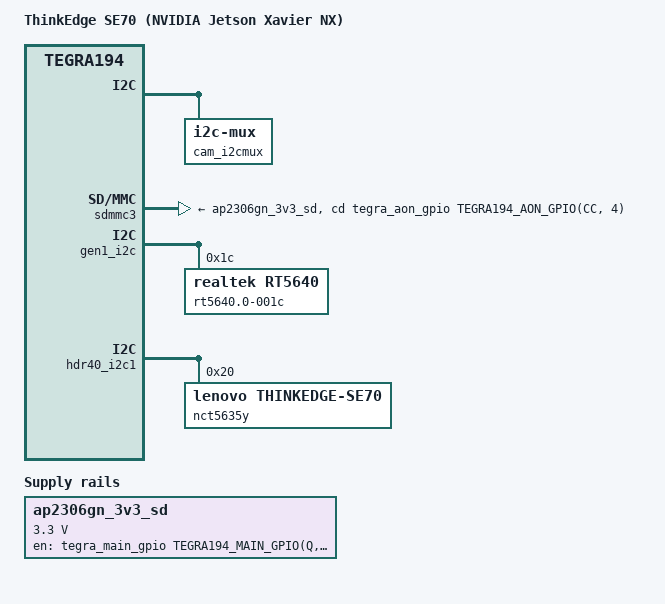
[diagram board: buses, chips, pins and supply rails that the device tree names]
/*
 * Top level DTS file for CVM:P3668-0001 and CVB:P3509-0000.
 *
 * Copyright (c) 2021, NVIDIA CORPORATION.  All rights reserved.
 * Copyright (C) 2023, Zededa GmbH. All rights reserved.
 *
 * This program is free software; you can redistribute it and/or modify
 * it under the terms of the GNU General Public License as published by
 * the Free Software Foundation; version 2 of the License.
 *
 * This program is distributed in the hope that it will be useful, but WITHOUT
 * ANY WARRANTY; without even the implied warranty of MERCHANTABILITY or
 * FITNESS FOR A PARTICULAR PURPOSE.  See the GNU General Public License for
 * more details.
 *
 * Changelog:
 *  Aug/2023: Original file tegra194-p3668-0001-p3509-0000.dts adapted for
 *            Lenovo ThinkEdge SE70, some nodes were taken from the original
 *            diassembled DTB.
 *  Author: Renê de Souza Pinto <rene@renesp.com.br>
 */

/dts-v1/;
#include "common/tegra194-p3668-common.dtsi"
#include "common/tegra194-p3509-0000-a00.dtsi"

/ {
	model = "ThinkEdge SE70 (NVIDIA Jetson Xavier NX)";
	nvidia,dtsfilename = __FILE__;
	nvidia,dtbbuildtime = __DATE__, __TIME__;

	compatible = "nvidia,p3449-0000+p3668-0001", "nvidia,p3509-0000+p3668-0001", "nvidia,tegra194";

	sdhci@3400000 {
		status = "disabled";
	};

	reserved-memory {
		inmate@c0000000 {
			no-map;
			reg = <0x00 0xc0000000 0x00 0xf700000>;
		};

		pci@cf700000 {
			no-map;
			reg = <0x00 0xcf700000 0x00 0x200000>;
		};

		ivshmem2@cf900000 {
			no-map;
			reg = <0x00 0xcf900000 0x00 0x100000>;
		};

		ivshmem@cfa00000 {
			no-map;
			reg = <0x00 0xcfa00000 0x00 0x100000>;
		};

		loader@cfb00000 {
			no-map;
			reg = <0x00 0xcfb00000 0x00 0x100000>;
		};

		jh@cfc00000 {
			no-map;
			reg = <0x00 0xcfc00000 0x00 0x400000>;
		};
	};

	pinmux@c302000 {
		status = "okay";

		touch_clk_pcc4 {
			nvidia,pins = "touch_clk_pcc4";
			nvidia,function = "rsvd2";
			nvidia,pull = <0x02>;
			nvidia,tristate = <0x01>;
			nvidia,enable-input = <0x01>;
			nvidia,lpdr = <0x00>;
		};
	};

	pinmux@2430028 {
		status = "okay";

		soc_gpio41_pq5 {
			nvidia,pins = "soc_gpio41_pq5";
			nvidia,function = "rsvd2";
			nvidia,pull = <0x00>;
			nvidia,tristate = <0x00>;
			nvidia,enable-input = <0x00>;
			nvidia,lpdr = <0x00>;
			nvidia,io-high-voltage = <0x00>;
		};
	};

	fixed-regulators {
		ap2306gn_3v3_sd: regulator@999 {
			compatible = "regulator-fixed";
			regulator-name = "ap2306gn-3v3-sd";
			regulator-min-microvolt = <0x325aa0>;
			regulator-max-microvolt = <0x325aa0>;
			gpio = <&tegra_main_gpio TEGRA194_MAIN_GPIO(Q, 5) 0>;
			enable-active-high;
			status = "okay";
		};
	};

	eeprom-manager {
		/delete-node/ bus@1;
		bus@0 {
			eeprom@1 {
				slave-address = <0x57>;
				label = "se70_cvb";
			};
		};
	};

	pwm-fan {
		status = "disabled";
		/delete-property/ vdd-fan-supply;
	};

	thermal-fan-est {
		status = "disabled";
	};

	generic_pwm_tachometer {
		status = "disabled";
	};

	ethernet@2490000 {
		status = "disabled";
	};

	cam_i2cmux {
		i2c@0 {
			/delete-node/ rbpcv2_imx219_a@10;
		};
		i2c@1 {
			/delete-node/ rbpcv2_imx219_c@10;
		};
	};

	/delete-node/ lens_imx219@RBPCV2;
};

&nvcsi {
	channel@0 {
		ports {
			port@0 {
				endpoint@0 {
					remote-endpoint = <&rbpcv3_imx477_out0>;
				};
			};
		};
	};
	channel@1 {
		ports {
			/delete-node/ port@0;
		};
	};
};

&spi0 {
	status = "disabled";
};

&spi1 {
	status = "disabled";
};

&spi2 {
	status = "disabled";
};

&sdmmc3 {
	status = "okay";
	uhs-mask = <0x7c>;
	mmc-ocr-mask = <0x00>;
	cd-gpios = <&tegra_aon_gpio TEGRA194_AON_GPIO(CC, 4) 0>;
	nvidia,cd-wakeup-capable;
	vmmc-supply = <&ap2306gn_3v3_sd>;
	nvidia,vmmc-always-on;
};

&tegra_tachometer {
	status = "disabled";
};

&tegra_pwm1 {
	status = "disabled";
};

&tegra_pwm2 {
	status = "disabled";
};

&tegra_pwm3 {
	status = "disabled";
};

&tegra_pwm4 {
	status = "disabled";
};

&tegra_pwm5 {
	status = "disabled";
};

&tegra_pwm6 {
	status = "disabled";
};

&tegra_pwm7 {
	status = "disabled";
};

&tegra_pwm8 {
	status = "disabled";
};

&gen1_i2c {
	rt5640.0-001c@1c {
		compatible = "realtek,rt5640";
		reg = <0x1c>;
		realtek,dmic1-data-pin = <0x00>;
		realtek,dmic2-data-pin = <0x00>;
		clocks = <0x04 0x5d 0x04 0x68 0x04 0x07>;
		clock-names = "pll_a\0pll_a_out0\0extern1";
		#sound-dai-cells = <0x01>;
		sound-name-prefix = "CVB-RT";
		status = "okay";

		port {
			endpoint {
				remote-endpoint = <0x29>;
				mclk-fs = <0x100>;
				link-name = "rt5640-playback";
			};
		};
	};
};

&hdr40_i2c1 {
	nct5635y@20 {
		compatible = "lenovo,thinkedge-se70";
		reg = <0x20>;
		status = "okay";
	};
};

&tegra_sound {
	assigned-clock-rates = <0x00 0xbb8000>;
	nvidia,num-codec-link = <0x02>;
	nvidia-audio-card,widgets = "Headphone\0CVB-RT Headphone Jack\0Microphone\0CVB-RT Mic Jack\0Speaker\0CVB-RT Int Spk\0Microphone\0CVB-RT Int Mic";
	nvidia-audio-card,routing = "CVB-RT Headphone Jack\0CVB-RT HPOR\0CVB-RT Headphone Jack\0CVB-RT HPOL\0CVB-RT Int Spk\0CVB-RT SPORP\0CVB-RT Int Spk\0CVB-RT SPORN\0CVB-RT Int Spk\0CVB-RT SPOLP\0CVB-RT Int Spk\0CVB-RT SPOLN\0CVB-RT IN1P\0CVB-RT Mic Jack\0CVB-RT Mic Jack\0CVB-RT MICBIAS1";

	nvidia-audio-card,dai-link@80 {
		link-name = "rt5640-playback";

		codec {
			prefix = "CVB-RT";
		};
	};

	nvidia-audio-card,dai-link@163 {
		status = "disabled";
	};

	nvidia-audio-card,dai-link@164 {
		status = "disabled";
	};

	nvidia-audio-card,dai-link@165 {
		status = "disabled";
	};

	nvidia-audio-card,dai-link@166 {
		status = "disabled";
	};
};

&tcp {
	modules {
		module0 {
			badge = "jakku_front_IMX477";

			drivernode0 {
				devname = "imx477 9-001a";
				proc-device-tree = "/proc/device-tree/cam_i2cmux/i2c@0/rbpcv3_imx477_a@1a";
			};

			/delete-node/ drivernode1;
		};

		module1 {
			badge = "jakku_rear_IMX477";

			drivernode0 {
				devname = "imx477 10-001a";
				proc-device-tree = "/proc/device-tree/cam_i2cmux/i2c@1/rbpcv3_imx477_c@1a";
			};

			/delete-node/ drivernode1;
		};
	};
};

&tegra_main_gpio {
	/delete-node/ camera-control-output-low;
};

&tegra_pinctrl {
	pinctrl-names = "default";
	pinctrl-0 = <&hdr40_pinmux>;

	hdr40_pinmux: header-40pin-pinmux {
		pin7 {
			nvidia,pins = "aud_mclk_ps4";
			nvidia,function = "aud";
			nvidia,pull = <0x00>;
			nvidia,tristate = <0x00>;
			nvidia,enable-input = <0x00>;
		};

		pin11 {
			nvidia,pins = "uart1_rts_pr4";
			nvidia,function = "uarta";
			nvidia,pull = <0x00>;
			nvidia,tristate = <0x00>;
			nvidia,enable-input = <0x00>;
			nvidia,lpdr = <0x00>;
		};

		pin12 {
			nvidia,pins = "dap5_sclk_pt5";
			nvidia,function = "i2s5";
			nvidia,pull = <0x01>;
			nvidia,tristate = <0x00>;
			nvidia,enable-input = <0x01>;
		};

		pin35 {
			nvidia,pins = "dap5_fs_pu0";
			nvidia,function = "i2s5";
			nvidia,pull = <0x01>;
			nvidia,tristate = <0x00>;
			nvidia,enable-input = <0x01>;
		};

		pin36 {
			nvidia,pins = "uart1_cts_pr5";
			nvidia,function = "uarta";
			nvidia,pull = <0x02>;
			nvidia,tristate = <0x01>;
			nvidia,enable-input = <0x01>;
			nvidia,lpdr = <0x00>;
		};

		pin38 {
			nvidia,pins = "dap5_din_pt7";
			nvidia,function = "i2s5";
			nvidia,pull = <0x01>;
			nvidia,tristate = <0x01>;
			nvidia,enable-input = <0x01>;
		};

		pin40 {
			nvidia,pins = "dap5_dout_pt6";
			nvidia,function = "i2s5";
			nvidia,pull = <0x01>;
			nvidia,tristate = <0x00>;
			nvidia,enable-input = <0x00>;
		};
	};
};

